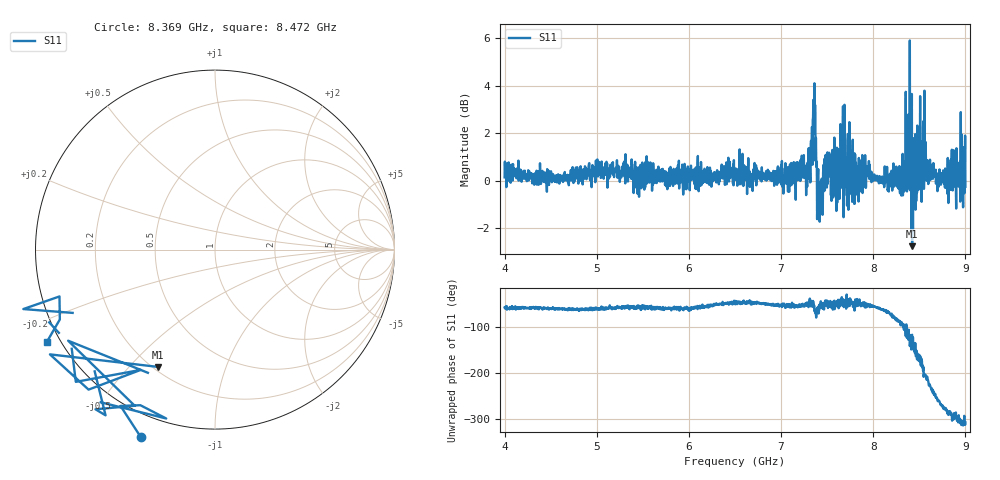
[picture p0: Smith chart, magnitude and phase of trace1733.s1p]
! Created with skrf 1.8.0 (http://scikit-rf.org).
# Hz S RI R 50.0
!freq ReS11 ImS11
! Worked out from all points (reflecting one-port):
!   1601 points, 4 GHz to 9 GHz, reference 50 ohm
!   lowest |S11| = -2.8 dB at 8.422 GHz (marker M1), VSWR 6.33, Z = 10.9 - j30.1 ohm
!   phase of S11 starts at -56 deg and turns -252 deg over the sweep
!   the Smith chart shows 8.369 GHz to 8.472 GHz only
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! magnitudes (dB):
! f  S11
! 4 GHz  0.1
! 4.625 GHz  0.0
! 5.25 GHz  -0.1
! 5.875 GHz  0.1
! 6.5 GHz  0.3
! 7.125 GHz  0.3
! 7.294 GHz  0.7
! 7.347 GHz  2.6
! 7.369 GHz  3.2
! 7.4 GHz  0.2
! 7.428 GHz  0.0
! 7.509 GHz  0.6
! 7.616 GHz  -0.2
! 7.669 GHz  1.9
! 7.703 GHz  0.1
! 7.75 GHz  -0.6
! 8.316 GHz  0.1
! 8.375 GHz  -0.3
! 8.422 GHz  -2.8
! 8.425 GHz  0.7
! 8.447 GHz  1.4
! 8.459 GHz  -1.2
! 8.531 GHz  1.5
! 8.603 GHz  0.8
! 8.812 GHz  0.4
! 8.919 GHz  -0.1
! 8.956 GHz  0.2
! 9 GHz  -0.3
